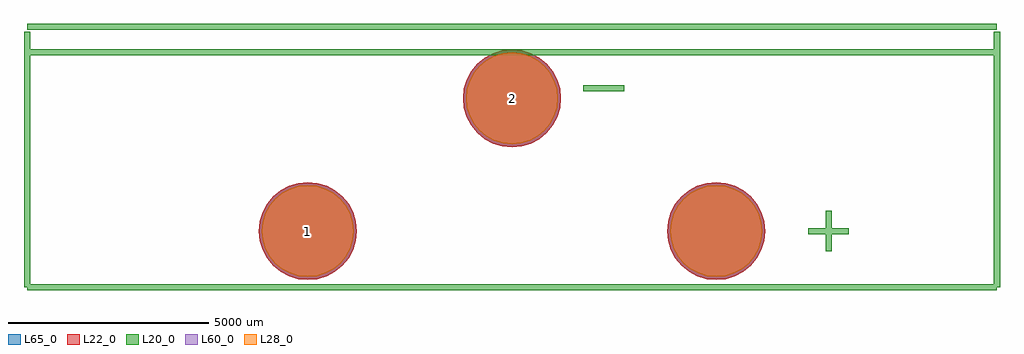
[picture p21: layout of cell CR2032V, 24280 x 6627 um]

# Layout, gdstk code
import gdstk
lib = gdstk.Library(unit=1e-6, precision=1e-09)
def P(c, l, *ps):  # polygons
    for p in ps: c.add(gdstk.Polygon(p, *l))
L20_0 = (20, 0)
L22_0 = (22, 0)
L28_0 = (28, 0)
L60_0 = (60, 0)
L65_0 = (65, 0)

cr2032v = lib.new_cell('CR2032V')
P(cr2032v, L22_0, [(1218,1524),(1194.596,1761.62),(1125.285,1990.108),(1012.73,2200.685),(861.256,2385.256),(676.685,2536.73),(466.108,2649.285),(237.62,2718.596),(0,2742),(-237.62,2718.596),(-466.108,2649.285),(-676.685,2536.73),(-861.256,2385.256),(-1012.73,2200.685),(-1125.285,1990.108),(-1194.596,1761.62),(-1218,1524),(-1194.596,1286.38),(-1125.285,1057.892),(-1012.73,847.315),(-861.256,662.744),(-676.685,511.27),(-466.108,398.715),(-237.62,329.404),(0,306),(237.62,329.404),(466.108,398.715),(676.685,511.27),(861.256,662.744),(1012.73,847.315),(1125.285,1057.892),(1194.596,1286.38)],
  [(6298,-1778),(6274.596,-1540.38),(6205.285,-1311.892),(6092.73,-1101.315),(5941.256,-916.744),(5756.685,-765.27),(5546.108,-652.715),(5317.62,-583.404),(5080,-560),(4842.38,-583.404),(4613.892,-652.715),(4403.315,-765.27),(4218.744,-916.744),(4067.27,-1101.315),(3954.715,-1311.892),(3885.404,-1540.38),(3862,-1778),(3885.404,-2015.62),(3954.715,-2244.108),(4067.27,-2454.685),(4218.744,-2639.256),(4403.315,-2790.73),(4613.892,-2903.285),(4842.38,-2972.596),(5080,-2996),(5317.62,-2972.596),(5546.108,-2903.285),(5756.685,-2790.73),(5941.256,-2639.256),(6092.73,-2454.685),(6205.285,-2244.108),(6274.596,-2015.62)],
  [(-3862,-1778),(-3885.404,-1540.38),(-3954.715,-1311.892),(-4067.27,-1101.315),(-4218.744,-916.744),(-4403.315,-765.27),(-4613.892,-652.715),(-4842.38,-583.404),(-5080,-560),(-5317.62,-583.404),(-5546.108,-652.715),(-5756.685,-765.27),(-5941.256,-916.744),(-6092.73,-1101.315),(-6205.285,-1311.892),(-6274.596,-1540.38),(-6298,-1778),(-6274.596,-2015.62),(-6205.285,-2244.108),(-6092.73,-2454.685),(-5941.256,-2639.256),(-5756.685,-2790.73),(-5546.108,-2903.285),(-5317.62,-2972.596),(-5080,-2996),(-4842.38,-2972.596),(-4613.892,-2903.285),(-4403.315,-2790.73),(-4218.744,-2639.256),(-4067.27,-2454.685),(-3954.715,-2244.108),(-3885.404,-2015.62)])
P(cr2032v, L28_0, [(1143,1524),(1121.038,1746.988),(1055.994,1961.407),(950.37,2159.017),(808.223,2332.223),(635.017,2474.37),(437.407,2579.994),(222.988,2645.038),(0,2667),(-222.988,2645.038),(-437.407,2579.994),(-635.017,2474.37),(-808.223,2332.223),(-950.37,2159.017),(-1055.994,1961.407),(-1121.038,1746.988),(-1143,1524),(-1121.038,1301.012),(-1055.994,1086.593),(-950.37,888.983),(-808.223,715.777),(-635.017,573.63),(-437.407,468.006),(-222.988,402.962),(0,381),(222.988,402.962),(437.407,468.006),(635.017,573.63),(808.223,715.777),(950.37,888.983),(1055.994,1086.593),(1121.038,1301.012)],
  [(6223,-1778),(6201.038,-1555.012),(6135.994,-1340.593),(6030.37,-1142.983),(5888.223,-969.777),(5715.017,-827.63),(5517.407,-722.006),(5302.988,-656.962),(5080,-635),(4857.012,-656.962),(4642.593,-722.006),(4444.983,-827.63),(4271.777,-969.777),(4129.63,-1142.983),(4024.006,-1340.593),(3958.962,-1555.012),(3937,-1778),(3958.962,-2000.988),(4024.006,-2215.407),(4129.63,-2413.017),(4271.777,-2586.223),(4444.983,-2728.37),(4642.593,-2833.994),(4857.012,-2899.038),(5080,-2921),(5302.988,-2899.038),(5517.407,-2833.994),(5715.017,-2728.37),(5888.223,-2586.223),(6030.37,-2413.017),(6135.994,-2215.407),(6201.038,-2000.988)],
  [(-3937,-1778),(-3958.962,-1555.012),(-4024.006,-1340.593),(-4129.63,-1142.983),(-4271.777,-969.777),(-4444.983,-827.63),(-4642.593,-722.006),(-4857.012,-656.962),(-5080,-635),(-5302.988,-656.962),(-5517.407,-722.006),(-5715.017,-827.63),(-5888.223,-969.777),(-6030.37,-1142.983),(-6135.994,-1340.593),(-6201.038,-1555.012),(-6223,-1778),(-6201.038,-2000.988),(-6135.994,-2215.407),(-6030.37,-2413.017),(-5888.223,-2586.223),(-5715.017,-2728.37),(-5517.407,-2833.994),(-5302.988,-2899.038),(-5080,-2921),(-4857.012,-2899.038),(-4642.593,-2833.994),(-4444.983,-2728.37),(-4271.777,-2586.223),(-4129.63,-2413.017),(-4024.006,-2215.407),(-3958.962,-2000.988)])
P(cr2032v, L60_0, [(1143,1524),(1121.038,1746.988),(1055.994,1961.407),(950.37,2159.017),(808.223,2332.223),(635.017,2474.37),(437.407,2579.994),(222.988,2645.038),(0,2667),(-222.988,2645.038),(-437.407,2579.994),(-635.017,2474.37),(-808.223,2332.223),(-950.37,2159.017),(-1055.994,1961.407),(-1121.038,1746.988),(-1143,1524),(-1121.038,1301.012),(-1055.994,1086.593),(-950.37,888.983),(-808.223,715.777),(-635.017,573.63),(-437.407,468.006),(-222.988,402.962),(0,381),(222.988,402.962),(437.407,468.006),(635.017,573.63),(808.223,715.777),(950.37,888.983),(1055.994,1086.593),(1121.038,1301.012)],
  [(6223,-1778),(6201.038,-1555.012),(6135.994,-1340.593),(6030.37,-1142.983),(5888.223,-969.777),(5715.017,-827.63),(5517.407,-722.006),(5302.988,-656.962),(5080,-635),(4857.012,-656.962),(4642.593,-722.006),(4444.983,-827.63),(4271.777,-969.777),(4129.63,-1142.983),(4024.006,-1340.593),(3958.962,-1555.012),(3937,-1778),(3958.962,-2000.988),(4024.006,-2215.407),(4129.63,-2413.017),(4271.777,-2586.223),(4444.983,-2728.37),(4642.593,-2833.994),(4857.012,-2899.038),(5080,-2921),(5302.988,-2899.038),(5517.407,-2833.994),(5715.017,-2728.37),(5888.223,-2586.223),(6030.37,-2413.017),(6135.994,-2215.407),(6201.038,-2000.988)],
  [(-3937,-1778),(-3958.962,-1555.012),(-4024.006,-1340.593),(-4129.63,-1142.983),(-4271.777,-969.777),(-4444.983,-827.63),(-4642.593,-722.006),(-4857.012,-656.962),(-5080,-635),(-5302.988,-656.962),(-5517.407,-722.006),(-5715.017,-827.63),(-5888.223,-969.777),(-6030.37,-1142.983),(-6135.994,-1340.593),(-6201.038,-1555.012),(-6223,-1778),(-6201.038,-2000.988),(-6135.994,-2215.407),(-6030.37,-2413.017),(-5888.223,-2586.223),(-5715.017,-2728.37),(-5517.407,-2833.994),(-5302.988,-2899.038),(-5080,-2921),(-4857.012,-2899.038),(-4642.593,-2833.994),(-4444.983,-2728.37),(-4271.777,-2586.223),(-4129.63,-2413.017),(-4024.006,-2215.407),(-3958.962,-2000.988)])
P(cr2032v, L65_0, [(1218,1524),(1194.596,1761.62),(1125.285,1990.108),(1012.73,2200.685),(861.256,2385.256),(676.685,2536.73),(466.108,2649.285),(237.62,2718.596),(0,2742),(-237.62,2718.596),(-466.108,2649.285),(-676.685,2536.73),(-861.256,2385.256),(-1012.73,2200.685),(-1125.285,1990.108),(-1194.596,1761.62),(-1218,1524),(-1194.596,1286.38),(-1125.285,1057.892),(-1012.73,847.315),(-861.256,662.744),(-676.685,511.27),(-466.108,398.715),(-237.62,329.404),(0,306),(237.62,329.404),(466.108,398.715),(676.685,511.27),(861.256,662.744),(1012.73,847.315),(1125.285,1057.892),(1194.596,1286.38)],
  [(6298,-1778),(6274.596,-1540.38),(6205.285,-1311.892),(6092.73,-1101.315),(5941.256,-916.744),(5756.685,-765.27),(5546.108,-652.715),(5317.62,-583.404),(5080,-560),(4842.38,-583.404),(4613.892,-652.715),(4403.315,-765.27),(4218.744,-916.744),(4067.27,-1101.315),(3954.715,-1311.892),(3885.404,-1540.38),(3862,-1778),(3885.404,-2015.62),(3954.715,-2244.108),(4067.27,-2454.685),(4218.744,-2639.256),(4403.315,-2790.73),(4613.892,-2903.285),(4842.38,-2972.596),(5080,-2996),(5317.62,-2972.596),(5546.108,-2903.285),(5756.685,-2790.73),(5941.256,-2639.256),(6092.73,-2454.685),(6205.285,-2244.108),(6274.596,-2015.62)],
  [(-3862,-1778),(-3885.404,-1540.38),(-3954.715,-1311.892),(-4067.27,-1101.315),(-4218.744,-916.744),(-4403.315,-765.27),(-4613.892,-652.715),(-4842.38,-583.404),(-5080,-560),(-5317.62,-583.404),(-5546.108,-652.715),(-5756.685,-765.27),(-5941.256,-916.744),(-6092.73,-1101.315),(-6205.285,-1311.892),(-6274.596,-1540.38),(-6298,-1778),(-6274.596,-2015.62),(-6205.285,-2244.108),(-6092.73,-2454.685),(-5941.256,-2639.256),(-5756.685,-2790.73),(-5546.108,-2903.285),(-5317.62,-2972.596),(-5080,-2996),(-4842.38,-2972.596),(-4613.892,-2903.285),(-4403.315,-2790.73),(-4218.744,-2639.256),(-4067.27,-2454.685),(-3954.715,-2244.108),(-3885.404,-2015.62)])
cr2032v.add(gdstk.FlexPath([(-12065,-3175),(12065,-3175)], 149.998, ends="flush", simple_path=True, layer=20, datatype=0))  # L20_0
cr2032v.add(gdstk.FlexPath([(-12065,3175),(-12065,-3175)], 149.998, ends="flush", simple_path=True, layer=20, datatype=0))  # L20_0
cr2032v.add(gdstk.FlexPath([(12065,2667),(-12065,2667)], 149.998, ends="flush", simple_path=True, layer=20, datatype=0))  # L20_0
cr2032v.add(gdstk.FlexPath([(12065,-3175),(12065,3175)], 149.998, ends="flush", simple_path=True, layer=20, datatype=0))  # L20_0
cr2032v.add(gdstk.FlexPath([(7366,-1778),(8382,-1778)], 149.998, ends="flush", simple_path=True, layer=20, datatype=0))  # L20_0
cr2032v.add(gdstk.FlexPath([(7874,-2286),(7874,-1270)], 149.998, ends="flush", simple_path=True, layer=20, datatype=0))  # L20_0
cr2032v.add(gdstk.FlexPath([(1778,1778),(2794,1778)], 149.998, ends="flush", simple_path=True, layer=20, datatype=0))  # L20_0
cr2032v.add(gdstk.FlexPath([(-12065,3302),(12065,3302)], 149.998, ends="flush", simple_path=True, layer=20, datatype=0))  # L20_0
cr2032v.add(gdstk.Label('2', (0,1524), layer=28, texttype=0))
cr2032v.add(gdstk.Label('1', (-5080,-1778), layer=28, texttype=0))
cr2032v.add(gdstk.Label('type', (0,-5080), layer=9, texttype=0))
cr2032v.add(gdstk.Label('devicename', (-7620,5080), layer=9, texttype=0))

lib.write_gds('CR2032V.gds')
